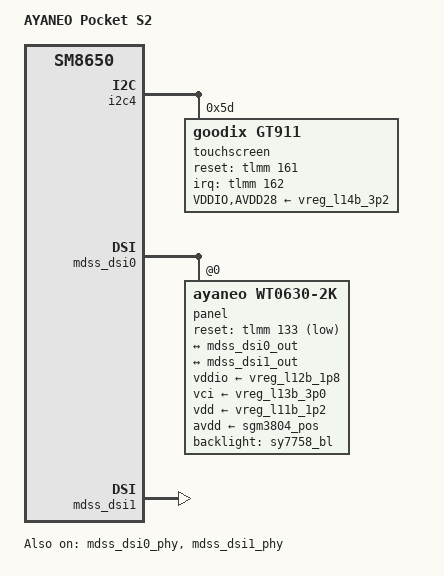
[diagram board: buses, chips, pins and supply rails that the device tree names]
// SPDX-License-Identifier: BSD-3-Clause
/*
 * Copyright (c) 2023, Linaro Limited
 * Copyright (c) 2025, Kancy Joe <kancy2333@outlook.com>
 */

/dts-v1/;

#include "sm8650-ayaneo-common.dtsi"

/ {
	model = "AYANEO Pocket S2";
	compatible = "ayaneo,pocket-s2", "qcom,sm8650";
};

&i2c4 {
	touchscreen@5d {
		reg = <0x5d>;
		status = "okay";
		compatible = "goodix,gt911";

		interrupt-parent = <&tlmm>;
		interrupts = <162 IRQ_TYPE_EDGE_FALLING>;

		reset-gpios = <&tlmm 161 GPIO_ACTIVE_HIGH>;
		VDDIO-supply = <&vreg_l14b_3p2>;
		AVDD28-supply = <&vreg_l14b_3p2>;

		touchscreen-size-x = <1440>;
		touchscreen-size-y = <2560>;

		pinctrl-names = "default";
		pinctrl-0 = <&ts_reset_default>, <&ts_irq_default>;
	};
};

&mdss_dsi0 {
	status = "okay";
	qcom,master-dsi;
	qcom,dual-dsi-mode;
	qcom,sync-dual-dsi;
	vdda-supply = <&vreg_l3i_1p2>;

	panel@0 {
		status = "okay";
		compatible = "ayaneo,wt0630-2k";
		reg = <0>;
		pinctrl-names = "default", "sleep";
		pinctrl-0 = <&disp0_reset_n_active>, <&mdp_vsync_active>;
		pinctrl-1 = <&disp0_reset_n_suspend>, <&mdp_vsync_suspend>;

		vddio-supply = <&vreg_l12b_1p8>;
		vci-supply = <&vreg_l13b_3p0>;
		vdd-supply = <&vreg_l11b_1p2>;
		avdd-supply = <&sgm3804_pos>;
		avee-supply = <&sgm3804_neg>;

		reset-gpios = <&tlmm 133 GPIO_ACTIVE_LOW>;
		backlight = <&sy7758_bl>;
		rotation = <90>;

		ports {
			#address-cells = <1>;
			#size-cells = <0>;

			port@0 {
				reg = <0>;
				panel0_in_0: endpoint {
					remote-endpoint = <&mdss_dsi0_out>;
				};
			};

			port@1{
				reg = <1>;
				panel0_in_1: endpoint {
					remote-endpoint = <&mdss_dsi1_out>;
				};
			};
		};
	};
};

&mdss_dsi0_out {
	remote-endpoint = <&panel0_in_0>;
	data-lanes = <0 1 2 3>;
};

&mdss_dsi0_phy {
	vdds-supply = <&vreg_l1i_0p88>;

	status = "okay";
};

&mdss_dsi1 {
	vdda-supply = <&vreg_l3i_1p2>;
	qcom,dual-dsi-mode;
	qcom,sync-dual-dsi;
	assigned-clock-parents = <&mdss_dsi0_phy DSI_BYTE_PLL_CLK>, <&mdss_dsi0_phy DSI_PIXEL_PLL_CLK>;
	status = "okay";
};

&mdss_dsi1_out {
	remote-endpoint = <&panel0_in_1>;
	data-lanes = <0 1 2 3>;
};

&mdss_dsi1_phy {
	vdds-supply = <&vreg_l1i_0p88>;

	status = "okay";
};
